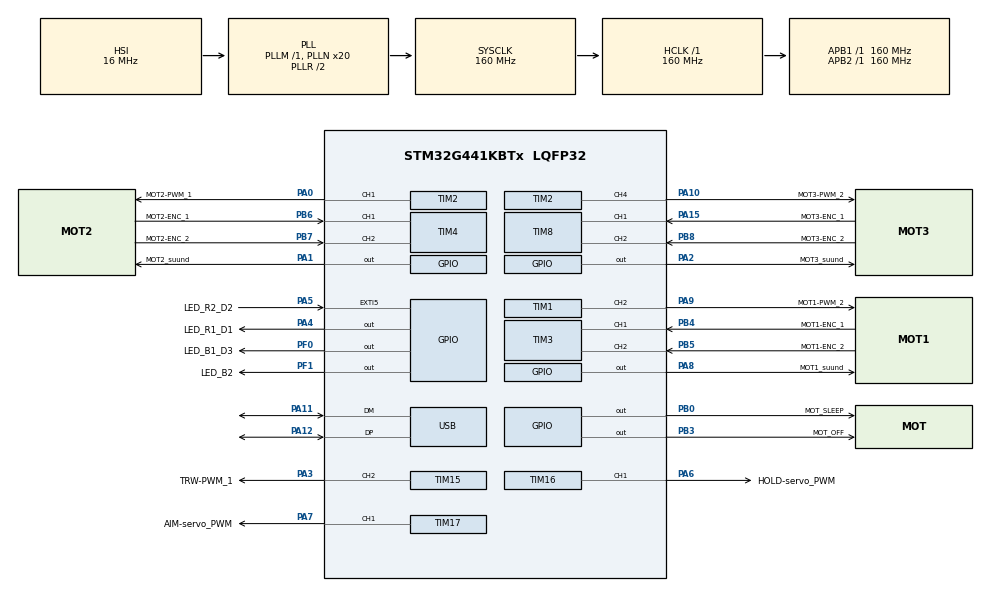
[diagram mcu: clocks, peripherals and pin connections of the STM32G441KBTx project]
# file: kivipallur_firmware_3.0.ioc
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ADC1.Channel-0\#ChannelRegularConversion=ADC_CHANNEL_TEMPSENSOR_ADC1
ADC1.NbrOfConversionFlag=1
ADC1.OffsetNumber-0\#ChannelRegularConversion=ADC_OFFSET_NONE
ADC1.Rank-0\#ChannelRegularConversion=1
ADC1.SamplingTime-0\#ChannelRegularConversion=ADC_SAMPLETIME_2CYCLES_5
ADC1.master=1
Dma.ADC1.0.Direction=DMA_PERIPH_TO_MEMORY
Dma.ADC1.0.EventEnable=DISABLE
Dma.ADC1.0.Instance=DMA1_Channel1
Dma.ADC1.0.MemDataAlignment=DMA_MDATAALIGN_BYTE
Dma.ADC1.0.MemInc=DMA_MINC_ENABLE
Dma.ADC1.0.Mode=DMA_CIRCULAR
Dma.ADC1.0.PeriphDataAlignment=DMA_PDATAALIGN_HALFWORD
Dma.ADC1.0.PeriphInc=DMA_PINC_DISABLE
Dma.ADC1.0.Polarity=HAL_DMAMUX_REQ_GEN_RISING
Dma.ADC1.0.Priority=DMA_PRIORITY_VERY_HIGH
Dma.ADC1.0.RequestNumber=1
Dma.ADC1.0.SignalID=NONE
Dma.ADC1.0.SyncEnable=DISABLE
Dma.ADC1.0.SyncPolarity=HAL_DMAMUX_SYNC_NO_EVENT
Dma.ADC1.0.SyncRequestNumber=1
Dma.ADC1.0.SyncSignalID=NONE
Dma.Request0=ADC1
Mcu.Family=STM32G4
Mcu.Name=STM32G441KBTx
Mcu.Package=LQFP32
NVIC.DMA1_Channel1_IRQn=true\:0\:0\:false\:false\:true\:false\:true\:true
NVIC.EXTI9_5_IRQn=true\:0\:0\:false\:false\:true\:true\:true\:true
NVIC.PriorityGroup=NVIC_PRIORITYGROUP_4
NVIC.TIM6_DAC_IRQn=true\:0\:0\:false\:false\:true\:true\:true\:true
NVIC.USB_LP_IRQn=true\:0\:0\:false\:false\:true\:false\:true\:true
PA0.GPIO_Label=MOT2-PWM_1
PA0.Signal=S_TIM2_CH1
PA1.GPIO_Label=MOT2_suund
PA1.Signal=GPIO_Output
PA10.GPIO_Label=MOT3-PWM_2
PA10.Signal=S_TIM2_CH4
PA11.Mode=Device
PA11.Signal=USB_DM
PA12.Mode=Device
PA12.Signal=USB_DP
PA13.Mode=Serial_Wire
PA13.Signal=SYS_JTMS-SWDIO
PA14.Mode=Serial_Wire
PA14.Signal=SYS_JTCK-SWCLK
PA15.GPIO_Label=MOT3-ENC_1
PA15.Signal=S_TIM8_CH1
PA2.GPIO_Label=MOT3_suund
PA2.Signal=GPIO_Output
PA3.GPIO_Label=TRW-PWM_1
PA3.Signal=S_TIM15_CH2
PA4.GPIO_Label=LED_R1_D1
PA4.Signal=GPIO_Output
PA5.GPIO_Label=LED_R2_D2
PA5.Signal=GPXTI5
PA6.GPIO_Label=HOLD-servo_PWM
PA6.Signal=S_TIM16_CH1
PA7.GPIO_Label=AIM-servo_PWM
PA7.Signal=S_TIM17_CH1
PA8.GPIO_Label=MOT1_suund
PA8.Signal=GPIO_Output
PA9.GPIO_Label=MOT1-PWM_2
PA9.Signal=S_TIM1_CH2
PB0.GPIO_Label=MOT_SLEEP
PB0.Signal=GPIO_Output
PB3.GPIO_Label=MOT_OFF
PB3.Signal=GPIO_Output
PB4.GPIO_Label=MOT1-ENC_1
PB4.Signal=S_TIM3_CH1
PB5.GPIO_Label=MOT1-ENC_2
PB5.Signal=S_TIM3_CH2
PB6.GPIO_Label=MOT2-ENC_1
PB6.Signal=S_TIM4_CH1
PB7.GPIO_Label=MOT2-ENC_2
PB7.Signal=S_TIM4_CH2
PB8-BOOT0.GPIO_Label=MOT3-ENC_2
PB8-BOOT0.Signal=S_TIM8_CH2
PF0-OSC_IN.GPIO_Label=LED_B1_D3
PF0-OSC_IN.Signal=GPIO_Output
PF1-OSC_OUT.GPIO_Label=LED_B2
PF1-OSC_OUT.Signal=GPIO_Output
ProjectManager.HeapSize=0x200
ProjectManager.StackSize=0x400
ProjectManager.TargetToolchain=STM32CubeIDE
RCC.ADC12Freq_Value=160000000
RCC.AHBFreq_Value=160000000
RCC.APB1Freq_Value=160000000
RCC.APB1TimFreq_Value=160000000
RCC.APB2Freq_Value=160000000
RCC.APB2TimFreq_Value=160000000
RCC.CK48CLockSelection=RCC_USBCLKSOURCE_HSI48
RCC.CortexFreq_Value=160000000
RCC.EXTERNAL_CLOCK_VALUE=12288000
RCC.HCLKFreq_Value=160000000
RCC.HSE_VALUE=8000000
RCC.HSI48_VALUE=48000000
RCC.HSI_VALUE=16000000
RCC.LSE_VALUE=32768
RCC.PLLN=20
RCC.PLLQ=RCC_PLLQ_DIV6
RCC.SYSCLKFreq_VALUE=160000000
RCC.SYSCLKSource=RCC_SYSCLKSOURCE_PLLCLK
RCC.USBFreq_Value=48000000
RCC.VCOOutputFreq_Value=320000000
SH.S_TIM15_CH2.0=TIM15_CH2,PWM Generation2 CH2
SH.S_TIM16_CH1.0=TIM16_CH1,PWM Generation1 CH1
SH.S_TIM17_CH1.0=TIM17_CH1,PWM Generation1 CH1
SH.S_TIM1_CH2.0=TIM1_CH2,PWM Generation2 CH2
SH.S_TIM2_CH1.0=TIM2_CH1,PWM Generation1 CH1
SH.S_TIM2_CH4.0=TIM2_CH4,PWM Generation4 CH4
SH.S_TIM3_CH1.0=TIM3_CH1,Encoder_Interface
SH.S_TIM3_CH2.0=TIM3_CH2,Encoder_Interface
SH.S_TIM4_CH1.0=TIM4_CH1,Encoder_Interface
SH.S_TIM4_CH2.0=TIM4_CH2,Encoder_Interface
SH.S_TIM8_CH1.0=TIM8_CH1,Encoder_Interface
SH.S_TIM8_CH2.0=TIM8_CH2,Encoder_Interface
TIM1.Channel-PWM\ Generation2\ CH2=TIM_CHANNEL_2
TIM15.Channel-PWM\ Generation2\ CH2=TIM_CHANNEL_2
TIM15.PeriodNoDither=63999
TIM15.Prescaler=49
TIM16.Channel=TIM_CHANNEL_1
TIM16.Prescaler=45
TIM17.Channel=TIM_CHANNEL_1
TIM17.Prescaler=45
TIM2.Channel-PWM\ Generation1\ CH1=TIM_CHANNEL_1
TIM2.Channel-PWM\ Generation4\ CH4=TIM_CHANNEL_4
TIM2.PeriodNoDither=65535
TIM3.EncoderMode=TIM_ENCODERMODE_TI12
TIM4.EncoderMode=TIM_ENCODERMODE_TI12
TIM6.Prescaler=20
TIM6.TIM_MasterOutputTrigger=TIM_TRGO_UPDATE
TIM8.EncoderMode=TIM_ENCODERMODE_TI12
USB_DEVICE.CLASS_NAME_FS=CDC
USB_DEVICE.VirtualMode=Cdc
USB_DEVICE.VirtualModeFS=Cdc_FS
VP_ADC1_TempSens_Input.Mode=IN-TempSens
VP_ADC1_Vref_Input.Mode=IN-Vrefint
VP_CRC_VS_CRC.Mode=CRC_Activate
VP_RTC_VS_RTC_Activate.Mode=RTC_Enabled
VP_SYS_VS_DBSignals.Mode=DisableDeadBatterySignals
VP_TIM16_VS_ClockSourceINT.Mode=Enable_Timer
VP_TIM17_VS_ClockSourceINT.Mode=Enable_Timer
VP_TIM6_VS_ClockSourceINT.Mode=Enable_Timer
VP_USB_DEVICE_VS_USB_DEVICE_CDC_FS.Mode=CDC_FS
board=custom

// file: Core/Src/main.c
/* USER CODE BEGIN Header */
/**
  ******************************************************************************
  * @file           : main.c
  * @brief          : Main program body
  ******************************************************************************
  * @attention
  *
  * Copyright (c) 2022 STMicroelectronics.
  * All rights reserved.
  *
  * This software is licensed under terms that can be found in the LICENSE file
  * in the root directory of this software component.
  * If no LICENSE file comes with this software, it is provided AS-IS.
  *
  ******************************************************************************
  */
/* USER CODE END Header */
#include "main.h"
#include "usb_device.h"

/* USER CODE BEGIN Includes */
#include "usbd_cdc_if.h"
/* USER CODE END Includes */

ADC_HandleTypeDef hadc1;
DMA_HandleTypeDef hdma_adc1;

CRC_HandleTypeDef hcrc;

RTC_HandleTypeDef hrtc;

TIM_HandleTypeDef htim1;
TIM_HandleTypeDef htim2;
TIM_HandleTypeDef htim3;
TIM_HandleTypeDef htim4;
TIM_HandleTypeDef htim6;
TIM_HandleTypeDef htim8;
TIM_HandleTypeDef htim15;
TIM_HandleTypeDef htim16;
TIM_HandleTypeDef htim17;

void SystemClock_Config(void);
static void MX_GPIO_Init(void);
static void MX_TIM1_Init(void);
static void MX_RTC_Init(void);
static void MX_TIM2_Init(void);
static void MX_TIM3_Init(void);
static void MX_TIM8_Init(void);
static void MX_TIM17_Init(void);
static void MX_TIM16_Init(void);
static void MX_TIM4_Init(void);
static void MX_TIM15_Init(void);
static void MX_DMA_Init(void);
static void MX_ADC1_Init(void);
static void MX_CRC_Init(void);
static void MX_TIM6_Init(void);

/* USER CODE BEGIN 0 */

typedef struct Command { // (1)
  int16_t speed1;
  int16_t speed2;
  int16_t speed3;
  uint16_t throwerSpeed;
  uint16_t delimiter; // (2)
} Command;

typedef struct Feedback { // (3)
  int16_t speed1;
  int16_t speed2;
  int16_t speed3;
  uint16_t delimiter;
} Feedback;

typedef struct MotorControl {
	int16_t speed;
	int16_t position;
	int32_t integraal;
	int16_t p_gain;
	int16_t i_gain;
	int32_t newspeed;
	int16_t positionChange;
} MotorControl;

MotorControl motor1Control = {
	  .speed = 0,
	  .position = 0,
	  .integraal = 0,
	  .p_gain = 3000,
	  .i_gain = 200,
	  .newspeed = 0,
	  .positionChange = 0
};

MotorControl motor2Control = {
	  .speed = 0,
	  .position = 0,
	  .integraal = 0,
	  .p_gain = 3000,
	  .i_gain = 200,
	  .newspeed = 0,
	  .positionChange = 0
};

MotorControl motor3Control = {
	  .speed = 0,
	  .position = 0,
	  .integraal = 0,
	  .p_gain = 3000,
	  .i_gain = 200,
	  .newspeed = 0,
	  .positionChange = 0
};

Command command = {.speed1 = 0, .speed2 = 0, .speed3 = 0, .throwerSpeed = 0, .delimiter = 0}; // (4)
volatile uint8_t isCommandReceived = 0; // (5)
uint16_t timer = 0;
uint16_t enable_pid = 0;
Feedback feedback = { // (1)
	      .speed1 = 0,
	      .speed2 = 0,
	      .speed3 = 0,
	      .delimiter = 0xAAAA
	  };;

int32_t clamp(int32_t value, int32_t minValue, int32_t maxValue) {
	if (value > maxValue) {
		return maxValue;
	}

	if (value < minValue) {
		return minValue;
	}
	return value;
}

void CDC_On_Receive(uint8_t* buffer, uint32_t* length) { // (6)
	if (*length == sizeof(Command)) { // (7)
		memcpy(&command, buffer, sizeof(Command)); // (8)

		if (command.delimiter == 0xAAAA) { // (9)
			isCommandReceived = 1;
		}
	}
}

//Näite põhjal hiljem täpsusta
// PID controller for movement.
int32_t PIDcontrol(MotorControl* control, int16_t position){
	control->positionChange = position - control->position;
	control->position = position;
	int32_t error = control->speed -control->positionChange;
	control->integraal += error;

	return control->p_gain * error + control->i_gain * control->integraal;
}

//Throw speed values
void Thrower_Send(uint16_t com) {
		if (com > 6000) {
			TIM15->CCR2 = 6000;
		}

		if (com < 20) {
			TIM15->CCR2 = 20;
		}
		TIM15->CCR2 = com;
}

void HAL_TIM_PeriodElapsedCallback(TIM_HandleTypeDef *htim6) {
	if (enable_pid == 1){

		int16_t position;
		//Mootor1
		position = (int16_t)TIM3->CNT;
		int32_t MOT_1_pwmValue = PIDcontrol(&motor1Control, position);
		HAL_GPIO_WritePin(GPIOA, MOT1_suund_Pin, (MOT_1_pwmValue < 0) ? GPIO_PIN_SET : GPIO_PIN_RESET);
		TIM1->CCR2 = (uint16_t)clamp((MOT_1_pwmValue < 0) ? -MOT_1_pwmValue : MOT_1_pwmValue, 0, 65535);

		//Mootor2
		position = (int16_t)TIM4->CNT;
		int32_t MOT_2_pwmValue = PIDcontrol(&motor2Control, position);
		HAL_GPIO_WritePin(GPIOA, MOT2_suund_Pin, (MOT_2_pwmValue < 0) ? GPIO_PIN_SET : GPIO_PIN_RESET);
		TIM2->CCR2 = (uint16_t)clamp((MOT_2_pwmValue < 0) ? -MOT_2_pwmValue : MOT_2_pwmValue, 0, 65535);

		//Mootor3
		position = (int16_t)TIM8->CNT;
		int32_t MOT_3_pwmValue = PIDcontrol(&motor3Control, position);
		HAL_GPIO_WritePin(GPIOA, MOT3_suund_Pin, (MOT_3_pwmValue < 0) ? GPIO_PIN_SET : GPIO_PIN_RESET);
		TIM2->CCR4 = (uint16_t)clamp((MOT_3_pwmValue < 0) ? -MOT_3_pwmValue : MOT_3_pwmValue, 0, 65535);

		timer+=1;
		if (timer == 50){
			timer = 0;
			enable_pid = 0;
			motor1Control.speed = 0;
			TIM1->CCR1 = 0;
			TIM1->CCR2 = 0;
			motor2Control.speed = 0;
			TIM2->CCR1 = 0;
			TIM2->CCR2 = 0;
			motor3Control.speed = 0;
			TIM2->CCR3 = 0;
			TIM2->CCR4 = 0;
			Thrower_Send(0);
		}
	}
}

//Drivers need a sleep signal to start working
void wake_drivers_up() {
	HAL_GPIO_WritePin(MOT_SLEEP_GPIO_Port, MOT_SLEEP_Pin, 0);
		for (int i = 0; i<300; i++) {
			__asm("nop");
	  	  }
	HAL_GPIO_WritePin(MOT_SLEEP_GPIO_Port, MOT_SLEEP_Pin, 1);
}
/* USER CODE END 0 */

int main(void)
{

  /* MCU Configuration--------------------------------------------------------*/

  /* Reset of all peripherals, Initializes the Flash interface and the Systick. */
  HAL_Init();

  /* Configure the system clock */
  SystemClock_Config();

  /* Initialize all configured peripherals */
  MX_GPIO_Init();
  MX_TIM1_Init();
  MX_RTC_Init();
  MX_TIM2_Init();
  MX_TIM3_Init();
  MX_TIM8_Init();
  MX_TIM17_Init();
  MX_TIM16_Init();
  MX_TIM4_Init();
  MX_TIM15_Init();
  MX_USB_Device_Init();
  MX_DMA_Init();
  MX_ADC1_Init();
  MX_CRC_Init();
  MX_TIM6_Init();
  /* USER CODE BEGIN 2 */

  HAL_TIM_PWM_Start(&htim15, TIM_CHANNEL_2); //Trhower

  HAL_TIM_PWM_Start(&htim1, TIM_CHANNEL_2); //Mootor1
  HAL_TIM_PWM_Start(&htim2, TIM_CHANNEL_1); //Mootor2
  HAL_TIM_PWM_Start(&htim2, TIM_CHANNEL_4); //Mootor3

  HAL_TIM_Encoder_Start(&htim3, TIM_CHANNEL_1 | TIM_CHANNEL_2);
  HAL_TIM_Encoder_Start(&htim4, TIM_CHANNEL_1 | TIM_CHANNEL_2);
  HAL_TIM_Encoder_Start(&htim8, TIM_CHANNEL_1 | TIM_CHANNEL_2);

  TIM1->CCR2 = 0;
  TIM2->CCR1 = 0;
  TIM2->CCR4 = 0;

  TIM15->CCR2 = 3000;

/*
  //for testing the motors
  TIM1->CCR1 = 0;
  TIM1->CCR2 = 20000;
  TIM2->CCR1 = 20000;
  TIM2->CCR2 = 0;
  TIM2->CCR3 = 0;
  TIM2->CCR4 = 20000;

*/

  HAL_GPIO_WritePin(MOT_SLEEP_GPIO_Port, MOT_SLEEP_Pin, 1);

  HAL_TIM_Base_Start_IT(&htim6);
  /* USER CODE END 2 */

  /* Infinite loop */
  while (1) {

    /* USER CODE BEGIN 3 */

	  	  if (isCommandReceived) { // (2)
	  	        isCommandReceived = 0;
	  	        wake_drivers_up();
	  	        motor1Control.speed = command.speed1;
	  	        motor2Control.speed = command.speed2;
	  	        motor3Control.speed = command.speed3;
	  	        Thrower_Send(command.throwerSpeed);
	    	        timer = 0;
	    	        enable_pid = 1;

	  	        feedback.speed1 = motor1Control.positionChange; // (4) //Mootor1
	  	        feedback.speed2 = motor2Control.positionChange;  ////Mootor2
	  	        feedback.speed3 = motor3Control.positionChange;  ////Mootor3

	  	        CDC_Transmit_FS(&feedback, sizeof(feedback)); // (5)
	  	      }
  }

}
  /* USER CODE END 3 */

void SystemClock_Config(void)
{
  RCC_OscInitTypeDef RCC_OscInitStruct = {0};
  RCC_ClkInitTypeDef RCC_ClkInitStruct = {0};

  /** Configure the main internal regulator output voltage
  */
  HAL_PWREx_ControlVoltageScaling(PWR_REGULATOR_VOLTAGE_SCALE1_BOOST);
  /** Initializes the RCC Oscillators according to the specified parameters
  * in the RCC_OscInitTypeDef structure.
  */
  RCC_OscInitStruct.OscillatorType = RCC_OSCILLATORTYPE_HSI|RCC_OSCILLATORTYPE_HSI48
                              |RCC_OSCILLATORTYPE_LSI;
  RCC_OscInitStruct.HSIState = RCC_HSI_ON;
  RCC_OscInitStruct.HSICalibrationValue = RCC_HSICALIBRATION_DEFAULT;
  RCC_OscInitStruct.LSIState = RCC_LSI_ON;
  RCC_OscInitStruct.HSI48State = RCC_HSI48_ON;
  RCC_OscInitStruct.PLL.PLLState = RCC_PLL_ON;
  RCC_OscInitStruct.PLL.PLLSource = RCC_PLLSOURCE_HSI;
  RCC_OscInitStruct.PLL.PLLM = RCC_PLLM_DIV1;
  RCC_OscInitStruct.PLL.PLLN = 20;
  RCC_OscInitStruct.PLL.PLLP = RCC_PLLP_DIV2;
  RCC_OscInitStruct.PLL.PLLQ = RCC_PLLQ_DIV6;
  RCC_OscInitStruct.PLL.PLLR = RCC_PLLR_DIV2;
  if (HAL_RCC_OscConfig(&RCC_OscInitStruct) != HAL_OK)
  {
    Error_Handler();
  }
  /** Initializes the CPU, AHB and APB buses clocks
  */
  RCC_ClkInitStruct.ClockType = RCC_CLOCKTYPE_HCLK|RCC_CLOCKTYPE_SYSCLK
                              |RCC_CLOCKTYPE_PCLK1|RCC_CLOCKTYPE_PCLK2;
  RCC_ClkInitStruct.SYSCLKSource = RCC_SYSCLKSOURCE_PLLCLK;
  RCC_ClkInitStruct.AHBCLKDivider = RCC_SYSCLK_DIV1;
  RCC_ClkInitStruct.APB1CLKDivider = RCC_HCLK_DIV1;
  RCC_ClkInitStruct.APB2CLKDivider = RCC_HCLK_DIV1;

  if (HAL_RCC_ClockConfig(&RCC_ClkInitStruct, FLASH_LATENCY_4) != HAL_OK)
  {
    Error_Handler();
  }
}

static void MX_ADC1_Init(void)
{

  ADC_MultiModeTypeDef multimode = {0};
  ADC_ChannelConfTypeDef sConfig = {0};

  /** Common config
  */
  hadc1.Instance = ADC1;
  hadc1.Init.ClockPrescaler = ADC_CLOCK_SYNC_PCLK_DIV4;
  hadc1.Init.Resolution = ADC_RESOLUTION_12B;
  hadc1.Init.DataAlign = ADC_DATAALIGN_RIGHT;
  hadc1.Init.GainCompensation = 0;
  hadc1.Init.ScanConvMode = ADC_SCAN_DISABLE;
  hadc1.Init.EOCSelection = ADC_EOC_SINGLE_CONV;
  hadc1.Init.LowPowerAutoWait = DISABLE;
  hadc1.Init.ContinuousConvMode = DISABLE;
  hadc1.Init.NbrOfConversion = 1;
  hadc1.Init.DiscontinuousConvMode = DISABLE;
  hadc1.Init.ExternalTrigConv = ADC_SOFTWARE_START;
  hadc1.Init.ExternalTrigConvEdge = ADC_EXTERNALTRIGCONVEDGE_NONE;
  hadc1.Init.DMAContinuousRequests = DISABLE;
  hadc1.Init.Overrun = ADC_OVR_DATA_PRESERVED;
  hadc1.Init.OversamplingMode = DISABLE;
  if (HAL_ADC_Init(&hadc1) != HAL_OK)
  {
    Error_Handler();
  }
  /** Configure the ADC multi-mode
  */
  multimode.Mode = ADC_MODE_INDEPENDENT;
  if (HAL_ADCEx_MultiModeConfigChannel(&hadc1, &multimode) != HAL_OK)
  {
    Error_Handler();
  }
  /** Configure Regular Channel
  */
  sConfig.Channel = ADC_CHANNEL_TEMPSENSOR_ADC1;
  sConfig.Rank = ADC_REGULAR_RANK_1;
  sConfig.SamplingTime = ADC_SAMPLETIME_2CYCLES_5;
  sConfig.SingleDiff = ADC_SINGLE_ENDED;
  sConfig.OffsetNumber = ADC_OFFSET_NONE;
  sConfig.Offset = 0;
  if (HAL_ADC_ConfigChannel(&hadc1, &sConfig) != HAL_OK)
  {
    Error_Handler();
  }

}

static void MX_CRC_Init(void)
{

  hcrc.Instance = CRC;
  hcrc.Init.DefaultPolynomialUse = DEFAULT_POLYNOMIAL_ENABLE;
  hcrc.Init.DefaultInitValueUse = DEFAULT_INIT_VALUE_ENABLE;
  hcrc.Init.InputDataInversionMode = CRC_INPUTDATA_INVERSION_NONE;
  hcrc.Init.OutputDataInversionMode = CRC_OUTPUTDATA_INVERSION_DISABLE;
  hcrc.InputDataFormat = CRC_INPUTDATA_FORMAT_BYTES;
  if (HAL_CRC_Init(&hcrc) != HAL_OK)
  {
    Error_Handler();
  }

}

static void MX_RTC_Init(void)
{

  /** Initialize RTC Only
  */
  hrtc.Instance = RTC;
  hrtc.Init.HourFormat = RTC_HOURFORMAT_24;
  hrtc.Init.AsynchPrediv = 127;
  hrtc.Init.SynchPrediv = 255;
  hrtc.Init.OutPut = RTC_OUTPUT_DISABLE;
  hrtc.Init.OutPutRemap = RTC_OUTPUT_REMAP_NONE;
  hrtc.Init.OutPutPolarity = RTC_OUTPUT_POLARITY_HIGH;
  hrtc.Init.OutPutType = RTC_OUTPUT_TYPE_OPENDRAIN;
  hrtc.Init.OutPutPullUp = RTC_OUTPUT_PULLUP_NONE;
  if (HAL_RTC_Init(&hrtc) != HAL_OK)
  {
    Error_Handler();
  }

}

static void MX_TIM1_Init(void)
{

  TIM_MasterConfigTypeDef sMasterConfig = {0};
  TIM_OC_InitTypeDef sConfigOC = {0};
  TIM_BreakDeadTimeConfigTypeDef sBreakDeadTimeConfig = {0};

  htim1.Instance = TIM1;
  htim1.Init.Prescaler = 0;
  htim1.Init.CounterMode = TIM_COUNTERMODE_UP;
  htim1.Init.Period = 65535;
  htim1.Init.ClockDivision = TIM_CLOCKDIVISION_DIV1;
  htim1.Init.RepetitionCounter = 0;
  htim1.Init.AutoReloadPreload = TIM_AUTORELOAD_PRELOAD_DISABLE;
  if (HAL_TIM_PWM_Init(&htim1) != HAL_OK)
  {
    Error_Handler();
  }
  sMasterConfig.MasterOutputTrigger = TIM_TRGO_RESET;
  sMasterConfig.MasterOutputTrigger2 = TIM_TRGO2_RESET;
  sMasterConfig.MasterSlaveMode = TIM_MASTERSLAVEMODE_DISABLE;
  if (HAL_TIMEx_MasterConfigSynchronization(&htim1, &sMasterConfig) != HAL_OK)
  {
    Error_Handler();
  }
  sConfigOC.OCMode = TIM_OCMODE_PWM1;
  sConfigOC.Pulse = 0;
  sConfigOC.OCPolarity = TIM_OCPOLARITY_HIGH;
  sConfigOC.OCNPolarity = TIM_OCNPOLARITY_HIGH;
  sConfigOC.OCFastMode = TIM_OCFAST_DISABLE;
  sConfigOC.OCIdleState = TIM_OCIDLESTATE_RESET;
  sConfigOC.OCNIdleState = TIM_OCNIDLESTATE_RESET;
  if (HAL_TIM_PWM_ConfigChannel(&htim1, &sConfigOC, TIM_CHANNEL_2) != HAL_OK)
  {
    Error_Handler();
  }
  sBreakDeadTimeConfig.OffStateRunMode = TIM_OSSR_DISABLE;
  sBreakDeadTimeConfig.OffStateIDLEMode = TIM_OSSI_DISABLE;
  sBreakDeadTimeConfig.LockLevel = TIM_LOCKLEVEL_OFF;
  sBreakDeadTimeConfig.DeadTime = 0;
  sBreakDeadTimeConfig.BreakState = TIM_BREAK_DISABLE;
  sBreakDeadTimeConfig.BreakPolarity = TIM_BREAKPOLARITY_HIGH;
  sBreakDeadTimeConfig.BreakFilter = 0;
  sBreakDeadTimeConfig.BreakAFMode = TIM_BREAK_AFMODE_INPUT;
  sBreakDeadTimeConfig.Break2State = TIM_BREAK2_DISABLE;
  sBreakDeadTimeConfig.Break2Polarity = TIM_BREAK2POLARITY_HIGH;
  sBreakDeadTimeConfig.Break2Filter = 0;
  sBreakDeadTimeConfig.Break2AFMode = TIM_BREAK_AFMODE_INPUT;
  sBreakDeadTimeConfig.AutomaticOutput = TIM_AUTOMATICOUTPUT_DISABLE;
  if (HAL_TIMEx_ConfigBreakDeadTime(&htim1, &sBreakDeadTimeConfig) != HAL_OK)
  {
    Error_Handler();
  }
  HAL_TIM_MspPostInit(&htim1);

}

static void MX_TIM2_Init(void)
{

  TIM_MasterConfigTypeDef sMasterConfig = {0};
  TIM_OC_InitTypeDef sConfigOC = {0};

  htim2.Instance = TIM2;
  htim2.Init.Prescaler = 0;
  htim2.Init.CounterMode = TIM_COUNTERMODE_UP;
  htim2.Init.Period = 65535;
  htim2.Init.ClockDivision = TIM_CLOCKDIVISION_DIV1;
  htim2.Init.AutoReloadPreload = TIM_AUTORELOAD_PRELOAD_DISABLE;
  if (HAL_TIM_PWM_Init(&htim2) != HAL_OK)
  {
    Error_Handler();
  }
  sMasterConfig.MasterOutputTrigger = TIM_TRGO_RESET;
  sMasterConfig.MasterSlaveMode = TIM_MASTERSLAVEMODE_DISABLE;
  if (HAL_TIMEx_MasterConfigSynchronization(&htim2, &sMasterConfig) != HAL_OK)
  {
    Error_Handler();
  }
  sConfigOC.OCMode = TIM_OCMODE_PWM1;
  sConfigOC.Pulse = 0;
  sConfigOC.OCPolarity = TIM_OCPOLARITY_HIGH;
  sConfigOC.OCFastMode = TIM_OCFAST_DISABLE;
  if (HAL_TIM_PWM_ConfigChannel(&htim2, &sConfigOC, TIM_CHANNEL_1) != HAL_OK)
  {
    Error_Handler();
  }
  if (HAL_TIM_PWM_ConfigChannel(&htim2, &sConfigOC, TIM_CHANNEL_4) != HAL_OK)
  {
    Error_Handler();
  }
  HAL_TIM_MspPostInit(&htim2);

}

static void MX_TIM3_Init(void)
{

  TIM_Encoder_InitTypeDef sConfig = {0};
  TIM_MasterConfigTypeDef sMasterConfig = {0};

  htim3.Instance = TIM3;
  htim3.Init.Prescaler = 0;
  htim3.Init.CounterMode = TIM_COUNTERMODE_UP;
  htim3.Init.Period = 65535;
  htim3.Init.ClockDivision = TIM_CLOCKDIVISION_DIV1;
  htim3.Init.AutoReloadPreload = TIM_AUTORELOAD_PRELOAD_DISABLE;
  sConfig.EncoderMode = TIM_ENCODERMODE_TI12;
  sConfig.IC1Polarity = TIM_ICPOLARITY_RISING;
  sConfig.IC1Selection = TIM_ICSELECTION_DIRECTTI;
  sConfig.IC1Prescaler = TIM_ICPSC_DIV1;
  sConfig.IC1Filter = 0;
  sConfig.IC2Polarity = TIM_ICPOLARITY_RISING;
  sConfig.IC2Selection = TIM_ICSELECTION_DIRECTTI;
  sConfig.IC2Prescaler = TIM_ICPSC_DIV1;
  sConfig.IC2Filter = 0;
  if (HAL_TIM_Encoder_Init(&htim3, &sConfig) != HAL_OK)
  {
    Error_Handler();
  }
  sMasterConfig.MasterOutputTrigger = TIM_TRGO_RESET;
  sMasterConfig.MasterSlaveMode = TIM_MASTERSLAVEMODE_DISABLE;
  if (HAL_TIMEx_MasterConfigSynchronization(&htim3, &sMasterConfig) != HAL_OK)
  {
    Error_Handler();
  }

}

static void MX_TIM4_Init(void)
{

  TIM_Encoder_InitTypeDef sConfig = {0};
  TIM_MasterConfigTypeDef sMasterConfig = {0};

  htim4.Instance = TIM4;
  htim4.Init.Prescaler = 0;
  htim4.Init.CounterMode = TIM_COUNTERMODE_UP;
  htim4.Init.Period = 65535;
  htim4.Init.ClockDivision = TIM_CLOCKDIVISION_DIV1;
  htim4.Init.AutoReloadPreload = TIM_AUTORELOAD_PRELOAD_DISABLE;
  sConfig.EncoderMode = TIM_ENCODERMODE_TI12;
  sConfig.IC1Polarity = TIM_ICPOLARITY_RISING;
  sConfig.IC1Selection = TIM_ICSELECTION_DIRECTTI;
  sConfig.IC1Prescaler = TIM_ICPSC_DIV1;
  sConfig.IC1Filter = 0;
  sConfig.IC2Polarity = TIM_ICPOLARITY_RISING;
  sConfig.IC2Selection = TIM_ICSELECTION_DIRECTTI;
  sConfig.IC2Prescaler = TIM_ICPSC_DIV1;
  sConfig.IC2Filter = 0;
  if (HAL_TIM_Encoder_Init(&htim4, &sConfig) != HAL_OK)
  {
    Error_Handler();
  }
  sMasterConfig.MasterOutputTrigger = TIM_TRGO_RESET;
  sMasterConfig.MasterSlaveMode = TIM_MASTERSLAVEMODE_DISABLE;
  if (HAL_TIMEx_MasterConfigSynchronization(&htim4, &sMasterConfig) != HAL_OK)
  {
    Error_Handler();
  }

}

static void MX_TIM6_Init(void)
{

  TIM_MasterConfigTypeDef sMasterConfig = {0};

  htim6.Instance = TIM6;
  htim6.Init.Prescaler = 20;
  htim6.Init.CounterMode = TIM_COUNTERMODE_UP;
  htim6.Init.Period = 65535;
  htim6.Init.AutoReloadPreload = TIM_AUTORELOAD_PRELOAD_DISABLE;
  if (HAL_TIM_Base_Init(&htim6) != HAL_OK)
  {
    Error_Handler();
  }
  sMasterConfig.MasterOutputTrigger = TIM_TRGO_UPDATE;
  sMasterConfig.MasterSlaveMode = TIM_MASTERSLAVEMODE_DISABLE;
  if (HAL_TIMEx_MasterConfigSynchronization(&htim6, &sMasterConfig) != HAL_OK)
  {
    Error_Handler();
  }

}

static void MX_TIM8_Init(void)
{

  TIM_Encoder_InitTypeDef sConfig = {0};
  TIM_MasterConfigTypeDef sMasterConfig = {0};

  htim8.Instance = TIM8;
  htim8.Init.Prescaler = 0;
  htim8.Init.CounterMode = TIM_COUNTERMODE_UP;
  htim8.Init.Period = 65535;
  htim8.Init.ClockDivision = TIM_CLOCKDIVISION_DIV1;
  htim8.Init.RepetitionCounter = 0;
  htim8.Init.AutoReloadPreload = TIM_AUTORELOAD_PRELOAD_DISABLE;
  sConfig.EncoderMode = TIM_ENCODERMODE_TI12;
  sConfig.IC1Polarity = TIM_ICPOLARITY_RISING;
  sConfig.IC1Selection = TIM_ICSELECTION_DIRECTTI;
  sConfig.IC1Prescaler = TIM_ICPSC_DIV1;
  sConfig.IC1Filter = 0;
  sConfig.IC2Polarity = TIM_ICPOLARITY_RISING;
  sConfig.IC2Selection = TIM_ICSELECTION_DIRECTTI;
  sConfig.IC2Prescaler = TIM_ICPSC_DIV1;
  sConfig.IC2Filter = 0;
  if (HAL_TIM_Encoder_Init(&htim8, &sConfig) != HAL_OK)
  {
    Error_Handler();
  }
  sMasterConfig.MasterOutputTrigger = TIM_TRGO_RESET;
  sMasterConfig.MasterOutputTrigger2 = TIM_TRGO2_RESET;
  sMasterConfig.MasterSlaveMode = TIM_MASTERSLAVEMODE_DISABLE;
  if (HAL_TIMEx_MasterConfigSynchronization(&htim8, &sMasterConfig) != HAL_OK)
  {
    Error_Handler();
  }

}

static void MX_TIM15_Init(void)
{

  TIM_MasterConfigTypeDef sMasterConfig = {0};
  TIM_OC_InitTypeDef sConfigOC = {0};
  TIM_BreakDeadTimeConfigTypeDef sBreakDeadTimeConfig = {0};

  htim15.Instance = TIM15;
  htim15.Init.Prescaler = 49;
  htim15.Init.CounterMode = TIM_COUNTERMODE_UP;
  htim15.Init.Period = 63999;
  htim15.Init.ClockDivision = TIM_CLOCKDIVISION_DIV1;
  htim15.Init.RepetitionCounter = 0;
  htim15.Init.AutoReloadPreload = TIM_AUTORELOAD_PRELOAD_DISABLE;
  if (HAL_TIM_PWM_Init(&htim15) != HAL_OK)
  {
    Error_Handler();
  }
  sMasterConfig.MasterOutputTrigger = TIM_TRGO_RESET;
  sMasterConfig.MasterSlaveMode = TIM_MASTERSLAVEMODE_DISABLE;
  if (HAL_TIMEx_MasterConfigSynchronization(&htim15, &sMasterConfig) != HAL_OK)
  {
    Error_Handler();
  }
  sConfigOC.OCMode = TIM_OCMODE_PWM1;
  sConfigOC.Pulse = 0;
  sConfigOC.OCPolarity = TIM_OCPOLARITY_HIGH;
  sConfigOC.OCNPolarity = TIM_OCNPOLARITY_HIGH;
  sConfigOC.OCFastMode = TIM_OCFAST_DISABLE;
  sConfigOC.OCIdleState = TIM_OCIDLESTATE_RESET;
  sConfigOC.OCNIdleState = TIM_OCNIDLESTATE_RESET;
  if (HAL_TIM_PWM_ConfigChannel(&htim15, &sConfigOC, TIM_CHANNEL_2) != HAL_OK)
  {
    Error_Handler();
  }
  sBreakDeadTimeConfig.OffStateRunMode = TIM_OSSR_DISABLE;
  sBreakDeadTimeConfig.OffStateIDLEMode = TIM_OSSI_DISABLE;
  sBreakDeadTimeConfig.LockLevel = TIM_LOCKLEVEL_OFF;
  sBreakDeadTimeConfig.DeadTime = 0;
  sBreakDeadTimeConfig.BreakState = TIM_BREAK_DISABLE;
  sBreakDeadTimeConfig.BreakPolarity = TIM_BREAKPOLARITY_HIGH;
  sBreakDeadTimeConfig.BreakFilter = 0;
  sBreakDeadTimeConfig.AutomaticOutput = TIM_AUTOMATICOUTPUT_DISABLE;
  if (HAL_TIMEx_ConfigBreakDeadTime(&htim15, &sBreakDeadTimeConfig) != HAL_OK)
  {
    Error_Handler();
  }
  HAL_TIM_MspPostInit(&htim15);

}

static void MX_TIM16_Init(void)
{

  TIM_OC_InitTypeDef sConfigOC = {0};
  TIM_BreakDeadTimeConfigTypeDef sBreakDeadTimeConfig = {0};

  htim16.Instance = TIM16;
  htim16.Init.Prescaler = 45;
  htim16.Init.CounterMode = TIM_COUNTERMODE_UP;
  htim16.Init.Period = 65535;
  htim16.Init.ClockDivision = TIM_CLOCKDIVISION_DIV1;
  htim16.Init.RepetitionCounter = 0;
  htim16.Init.AutoReloadPreload = TIM_AUTORELOAD_PRELOAD_DISABLE;
  if (HAL_TIM_Base_Init(&htim16) != HAL_OK)
  {
    Error_Handler();
  }
  if (HAL_TIM_PWM_Init(&htim16) != HAL_OK)
  {
    Error_Handler();
  }
  sConfigOC.OCMode = TIM_OCMODE_PWM1;
  sConfigOC.Pulse = 0;
  sConfigOC.OCPolarity = TIM_OCPOLARITY_HIGH;
  sConfigOC.OCNPolarity = TIM_OCNPOLARITY_HIGH;
  sConfigOC.OCFastMode = TIM_OCFAST_DISABLE;
  sConfigOC.OCIdleState = TIM_OCIDLESTATE_RESET;
  sConfigOC.OCNIdleState = TIM_OCNIDLESTATE_RESET;
  if (HAL_TIM_PWM_ConfigChannel(&htim16, &sConfigOC, TIM_CHANNEL_1) != HAL_OK)
  {
    Error_Handler();
  }
  sBreakDeadTimeConfig.OffStateRunMode = TIM_OSSR_DISABLE;
  sBreakDeadTimeConfig.OffStateIDLEMode = TIM_OSSI_DISABLE;
  sBreakDeadTimeConfig.LockLevel = TIM_LOCKLEVEL_OFF;
  sBreakDeadTimeConfig.DeadTime = 0;
  sBreakDeadTimeConfig.BreakState = TIM_BREAK_DISABLE;
  sBreakDeadTimeConfig.BreakPolarity = TIM_BREAKPOLARITY_HIGH;
  sBreakDeadTimeConfig.BreakFilter = 0;
  sBreakDeadTimeConfig.AutomaticOutput = TIM_AUTOMATICOUTPUT_DISABLE;
  if (HAL_TIMEx_ConfigBreakDeadTime(&htim16, &sBreakDeadTimeConfig) != HAL_OK)
  {
    Error_Handler();
  }
  HAL_TIM_MspPostInit(&htim16);

}

static void MX_TIM17_Init(void)
{

  TIM_OC_InitTypeDef sConfigOC = {0};
  TIM_BreakDeadTimeConfigTypeDef sBreakDeadTimeConfig = {0};

  htim17.Instance = TIM17;
  htim17.Init.Prescaler = 45;
  htim17.Init.CounterMode = TIM_COUNTERMODE_UP;
  htim17.Init.Period = 65535;
  htim17.Init.ClockDivision = TIM_CLOCKDIVISION_DIV1;
  htim17.Init.RepetitionCounter = 0;
  htim17.Init.AutoReloadPreload = TIM_AUTORELOAD_PRELOAD_DISABLE;
  if (HAL_TIM_Base_Init(&htim17) != HAL_OK)
  {
    Error_Handler();
  }
  if (HAL_TIM_PWM_Init(&htim17) != HAL_OK)
  {
    Error_Handler();
  }
  sConfigOC.OCMode = TIM_OCMODE_PWM1;
  sConfigOC.Pulse = 0;
  sConfigOC.OCPolarity = TIM_OCPOLARITY_HIGH;
  sConfigOC.OCNPolarity = TIM_OCNPOLARITY_HIGH;
  sConfigOC.OCFastMode = TIM_OCFAST_DISABLE;
  sConfigOC.OCIdleState = TIM_OCIDLESTATE_RESET;
  sConfigOC.OCNIdleState = TIM_OCNIDLESTATE_RESET;
  if (HAL_TIM_PWM_ConfigChannel(&htim17, &sConfigOC, TIM_CHANNEL_1) != HAL_OK)
  {
    Error_Handler();
  }
  sBreakDeadTimeConfig.OffStateRunMode = TIM_OSSR_DISABLE;
  sBreakDeadTimeConfig.OffStateIDLEMode = TIM_OSSI_DISABLE;
  sBreakDeadTimeConfig.LockLevel = TIM_LOCKLEVEL_OFF;
  sBreakDeadTimeConfig.DeadTime = 0;
  sBreakDeadTimeConfig.BreakState = TIM_BREAK_DISABLE;
  sBreakDeadTimeConfig.BreakPolarity = TIM_BREAKPOLARITY_HIGH;
  sBreakDeadTimeConfig.BreakFilter = 0;
  sBreakDeadTimeConfig.AutomaticOutput = TIM_AUTOMATICOUTPUT_DISABLE;
  if (HAL_TIMEx_ConfigBreakDeadTime(&htim17, &sBreakDeadTimeConfig) != HAL_OK)
  {
    Error_Handler();
  }
  HAL_TIM_MspPostInit(&htim17);

}

static void MX_DMA_Init(void)
{

  /* DMA controller clock enable */
  __HAL_RCC_DMAMUX1_CLK_ENABLE();
  __HAL_RCC_DMA1_CLK_ENABLE();

  /* DMA interrupt init */
  /* DMA1_Channel1_IRQn interrupt configuration */
  HAL_NVIC_SetPriority(DMA1_Channel1_IRQn, 0, 0);
  HAL_NVIC_EnableIRQ(DMA1_Channel1_IRQn);

}

static void MX_GPIO_Init(void)
{
  GPIO_InitTypeDef GPIO_InitStruct = {0};

  /* GPIO Ports Clock Enable */
  __HAL_RCC_GPIOF_CLK_ENABLE();
  __HAL_RCC_GPIOA_CLK_ENABLE();
  __HAL_RCC_GPIOB_CLK_ENABLE();

  /*Configure GPIO pin Output Level */
  HAL_GPIO_WritePin(GPIOF, LED_B1_D3_Pin|LED_B2_Pin, GPIO_PIN_RESET);

  /*Configure GPIO pin Output Level */
  HAL_GPIO_WritePin(GPIOA, MOT2_suund_Pin|MOT3_suund_Pin|LED_R1_D1_Pin|MOT1_suund_Pin, GPIO_PIN_RESET);

  /*Configure GPIO pin Output Level */
  HAL_GPIO_WritePin(GPIOB, MOT_SLEEP_Pin|MOT_OFF_Pin, GPIO_PIN_RESET);

  /*Configure GPIO pins : LED_B1_D3_Pin LED_B2_Pin */
  GPIO_InitStruct.Pin = LED_B1_D3_Pin|LED_B2_Pin;
  GPIO_InitStruct.Mode = GPIO_MODE_OUTPUT_PP;
  GPIO_InitStruct.Pull = GPIO_NOPULL;
  GPIO_InitStruct.Speed = GPIO_SPEED_FREQ_LOW;
  HAL_GPIO_Init(GPIOF, &GPIO_InitStruct);

  /*Configure GPIO pins : MOT2_suund_Pin MOT3_suund_Pin LED_R1_D1_Pin MOT1_suund_Pin */
  GPIO_InitStruct.Pin = MOT2_suund_Pin|MOT3_suund_Pin|LED_R1_D1_Pin|MOT1_suund_Pin;
  GPIO_InitStruct.Mode = GPIO_MODE_OUTPUT_PP;
  GPIO_InitStruct.Pull = GPIO_NOPULL;
  GPIO_InitStruct.Speed = GPIO_SPEED_FREQ_LOW;
  HAL_GPIO_Init(GPIOA, &GPIO_InitStruct);

  /*Configure GPIO pin : LED_R2_D2_Pin */
  GPIO_InitStruct.Pin = LED_R2_D2_Pin;
  GPIO_InitStruct.Mode = GPIO_MODE_IT_RISING;
  GPIO_InitStruct.Pull = GPIO_NOPULL;
  HAL_GPIO_Init(LED_R2_D2_GPIO_Port, &GPIO_InitStruct);

  /*Configure GPIO pins : MOT_SLEEP_Pin MOT_OFF_Pin */
  GPIO_InitStruct.Pin = MOT_SLEEP_Pin|MOT_OFF_Pin;
  GPIO_InitStruct.Mode = GPIO_MODE_OUTPUT_PP;
  GPIO_InitStruct.Pull = GPIO_NOPULL;
  GPIO_InitStruct.Speed = GPIO_SPEED_FREQ_LOW;
  HAL_GPIO_Init(GPIOB, &GPIO_InitStruct);

  /* EXTI interrupt init*/
  HAL_NVIC_SetPriority(EXTI9_5_IRQn, 0, 0);
  HAL_NVIC_EnableIRQ(EXTI9_5_IRQn);

}

void Error_Handler(void)
{
  __disable_irq();
  while (1)
  {
  }
}
